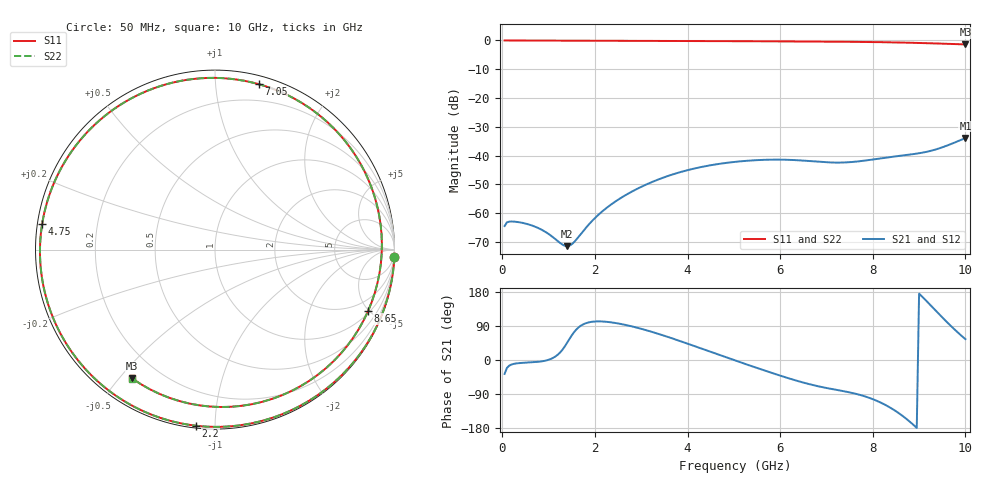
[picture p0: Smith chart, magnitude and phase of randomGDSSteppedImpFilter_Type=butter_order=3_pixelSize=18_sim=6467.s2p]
! freq	dB(S11)	phase(S11)	dB(S12)	phase(S12)
!  dB(S21)	phase(S21)	dB(S22)	phase(S22)
!S-par simulation data
#  GHz  S  DB  R 50
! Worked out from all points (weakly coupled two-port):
!   200 points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, 50 MHz to 10 GHz, reference 50 ohm
!   highest |S21| = -33.95 dB at 10 GHz (marker M1); lowest = -71.5 dB at 1.4 GHz (marker M2)
!   lowest |S11| = -1.4 dB at 10 GHz (marker M3), VSWR 12.64, Z = 5.13 - j27.1 ohm
!   |S11| at or under -10 dB: nowhere
!   |S22| runs from -1.4 to 0.0 dB; largest |S21 - S12| = 0
!   S11 on the Smith chart (normalised r, x): 50 MHz: 0, -49; 2.2 GHz: 0.01, -0.90; 4.75 GHz: 0.01, +0.07; 7.05 GHz: 0.06, +1.30; 8.65 GHz: 1.12, -4.94; 10 GHz: 0.10, -0.54
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0.05  -0.00 -2.3  -64.53 -36.6  -64.53 -36.6  -0.00 -2.3
0.2  -0.00 -9.4  -62.94 -11.8  -62.94 -11.8  -0.00 -9.4
0.6  -0.03 -27.9  -64.11 -6.5  -64.11 -6.5  -0.03 -27.9
1.4  -0.08 -63.4  -71.52 45.5  -71.52 45.5  -0.08 -63.4
1.75  -0.09 -78.1  -66.20 94.3  -66.20 94.3  -0.09 -78.1
2.2  -0.11 -96.2  -58.88 101.3  -58.88 101.3  -0.11 -96.2
2.75  -0.14 -117.2  -52.97 90.1  -52.97 90.1  -0.14 -117.2
3.4  -0.16 -140.8  -48.14 67.8  -48.14 67.8  -0.16 -140.8
4.1  -0.20 -165.5  -44.70 38.8  -44.70 38.8  -0.20 -165.5
4.75  -0.23 171.5  -42.75 10.6  -42.75 10.6  -0.23 171.4
5.05  -0.25 160.6  -42.17 -2.2  -42.17 -2.2  -0.25 160.5
5.85  -0.31 129.8  -41.43 -35.3  -41.43 -35.3  -0.31 129.7
6.7  -0.38 92.5  -42.02 -65.9  -42.02 -65.9  -0.38 92.4
7.05  -0.41 75.2  -42.40 -75.1  -42.40 -75.1  -0.41 75.1
7.65  -0.49 42.4  -42.11 -89.7  -42.11 -89.7  -0.49 42.3
8  -0.56 21.3  -41.38 -103.3  -41.38 -103.3  -0.56 21.1
8.35  -0.64 -1.3  -40.59 -123.8  -40.59 -123.8  -0.64 -1.5
8.65  -0.73 -21.8  -39.97 -148.1  -39.97 -148.1  -0.73 -22.0
9.05  -0.89 -50.5  -39.07 169.1  -39.07 169.1  -0.89 -50.6
9.35  -1.03 -72.9  -37.95 131.6  -37.95 131.6  -1.03 -72.9
9.65  -1.19 -95.7  -36.26 94.2  -36.26 94.2  -1.19 -95.7
10  -1.38 -122.7  -33.95 55.0  -33.95 55.0  -1.37 -122.6
